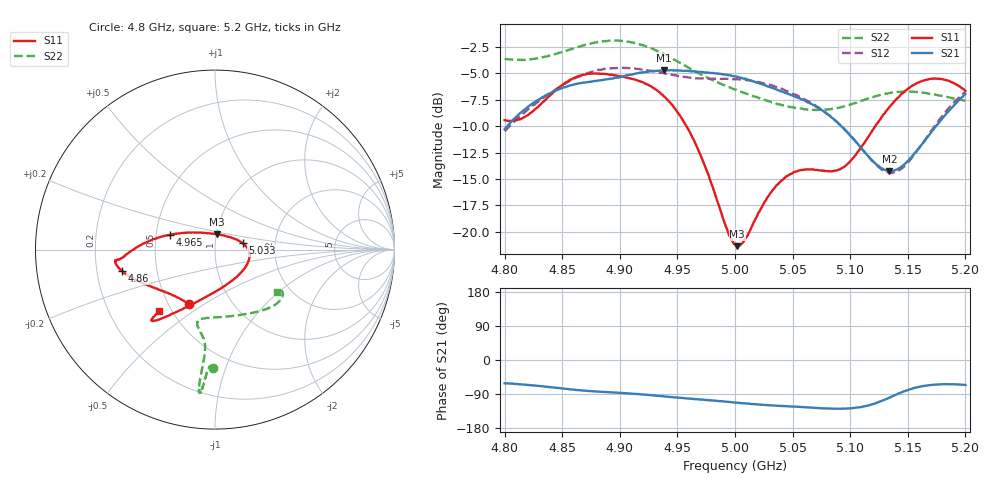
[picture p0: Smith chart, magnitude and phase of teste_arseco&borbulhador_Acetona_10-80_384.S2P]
! Network Analyzer HP8722D
! Hewlett-Packard
! Data name: Linha & Wilkinson
! Saver's name: Rodrigo Anjos
! Comments: Teste da utilização de aquisição
! continua pelo VNA HP8722D
! Time and date: 17/4/2025 17:33
!  Frequency  S11  S21  S12  S22
# HZ  S  MA R 50
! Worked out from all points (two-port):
!   401 points, 4.8 GHz to 5.2 GHz, reference 50 ohm
!   highest |S21| = -4.72 dB at 4.938 GHz (marker M1); lowest = -14.2 dB at 5.134 GHz (marker M2)
!   |S21| within 3 dB of the highest: 4.826 GHz to 5.062 GHz (236.1 MHz wide, 4.77 % of centre); 5.192867 GHz to end of sweep
!   lowest |S11| = -21.4 dB at 5.002 GHz (marker M3), VSWR 1.19, Z = 50.3 + j8.61 ohm
!   |S11| at or under -10 dB: 4.958 GHz to 5.122 GHz (164 MHz wide, 3.25 % of centre)
!   |S22| runs from -8.5 to -1.9 dB; largest |S21 - S12| = 0.87
!   S11 on the Smith chart (normalised r, x): 4.8 GHz: 0.63, -0.43; 4.86 GHz: 0.31, -0.10; 4.965 GHz: 0.59, +0.10; 5.033 GHz: 1.36, +0.10; 5.2 GHz: 0.43, -0.37
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4.8e9  0.3373 -115.8  0.3058 -61.5  0.2988 -175.8  0.6574 -90.8
4.819e9  0.3537 -135.8  0.3845 -65.5  0.3732 -175.0  0.6522 -92.4
4.86e9  0.5338 -167.3  0.497 -78.3  0.5282 -178.2  0.7365 -94.6
4.867e9  0.5499 -169.9  0.506 -80.4  0.5492 -179.5  0.7564 -94.8
4.899e9  0.5443 -174.2  0.536 -86.6  0.5953 174.1  0.801 -96.2
4.934e9  0.4589 -179.7  0.5768 -94.9  0.5696 170.8  0.7097 -96.5
4.938e9  0.439 178.5  0.581 -96.0  0.5616 170.7  0.6939 -96.4
4.965e9  0.2656 162.1  0.5729 -103.2  0.5332 172.7  0.5746 -95.7
4.994e9  0.0996 113.0  0.5501 -110.3  0.528 174.9  0.4838 -98.3
5e9  0.08723 91.1  0.5426 -112.4  0.5268 175.2  0.4707 -99.6
5.002e9  0.08558 82.8  0.5406 -112.8  0.5258 175.2  0.4672 -100.1
5.009e9  0.09291 57.3  0.5293 -114.5  0.5236 174.7  0.4514 -101.5
5.033e9  0.1583 13.5  0.4786 -120.0  0.4898 173.8  0.4088 -103.3
5.05e9  0.1898 -3.2  0.442 -123.0  0.4492 173.2  0.3884 -98.6
5.067e9  0.1971 -21.4  0.4004 -126.0  0.4047 172.9  0.3772 -89.2
5.096e9  0.2055 -71.8  0.3008 -128.2  0.3026 174.8  0.3932 -66.8
5.121e9  0.3112 -109.8  0.2123 -115.4  0.2109 -170.3  0.4359 -49.8
5.134e9  0.3879 -119.8  0.1941 -99.4  0.1904 -152.6  0.4531 -43.3
5.147e9  0.4591 -125.9  0.2085 -82.5  0.2042 -133.1  0.4599 -38.2
5.167e9  0.5238 -130.8  0.2795 -67.1  0.2828 -113.8  0.4514 -33.1
5.183e9  0.5224 -132.3  0.3592 -63.9  0.37 -108.2  0.4349 -31.8
5.2e9  0.4644 -132.3  0.4481 -65.8  0.459 -107.7  0.416 -34.3
